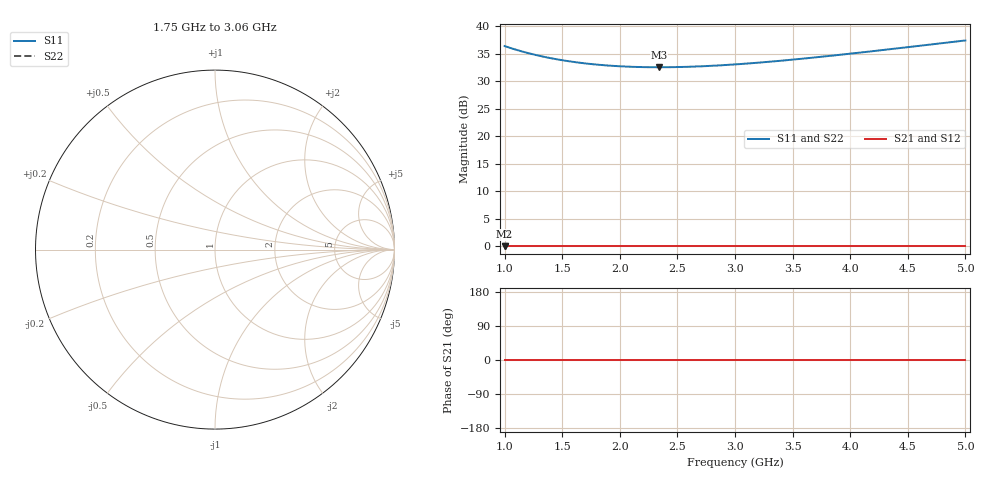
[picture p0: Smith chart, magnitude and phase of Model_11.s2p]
# GHZ S RI R 50
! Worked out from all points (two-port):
!   401 points, 1 GHz to 5 GHz, reference 50 ohm
!   highest |S21| = 0.00 dB at 1 GHz (marker M1); lowest = 0.0 dB at 1 GHz (marker M2)
!   |S21| within 3 dB of the highest: start of sweep to end of sweep
!   lowest |S11| = 32.6 dB at 2.34 GHz (marker M3)
!   |S11| at or under -10 dB: nowhere
!   |S22| runs from 32.6 to 37.4 dB; largest |S21 - S12| = 0
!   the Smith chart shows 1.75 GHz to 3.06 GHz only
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1  66.26 0  1 0  1 0  66.26 0
1.02  65.19 0  1 0  1 0  65.19 0
1.15  59.22 0  1 0  1 0  59.22 0
1.22  56.62 0  1 0  1 0  56.62 0
1.3  54.08 0  1 0  1 0  54.08 0
1.38  51.91 0  1 0  1 0  51.91 0
1.47  49.86 0  1 0  1 0  49.86 0
1.57  47.98 0  1 0  1 0  47.98 0
1.67  46.46 0  1 0  1 0  46.46 0
1.82  44.73 0  1 0  1 0  44.73 0
1.98  43.5 0  1 0  1 0  43.5 0
2.15  42.75 0  1 0  1 0  42.75 0
2.34  42.49 0  1 0  1 0  42.49 0
2.5  42.66 0  1 0  1 0  42.66 0
2.66  43.15 0  1 0  1 0  43.15 0
3  45.11 0  1 0  1 0  45.11 0
3.33  48.01 0  1 0  1 0  48.01 0
3.67  51.91 0  1 0  1 0  51.91 0
4  56.49 0  1 0  1 0  56.49 0
4.34  61.94 0  1 0  1 0  61.94 0
4.64  67.35 0  1 0  1 0  67.35 0
5  74.53 0  1 0  1 0  74.53 0
